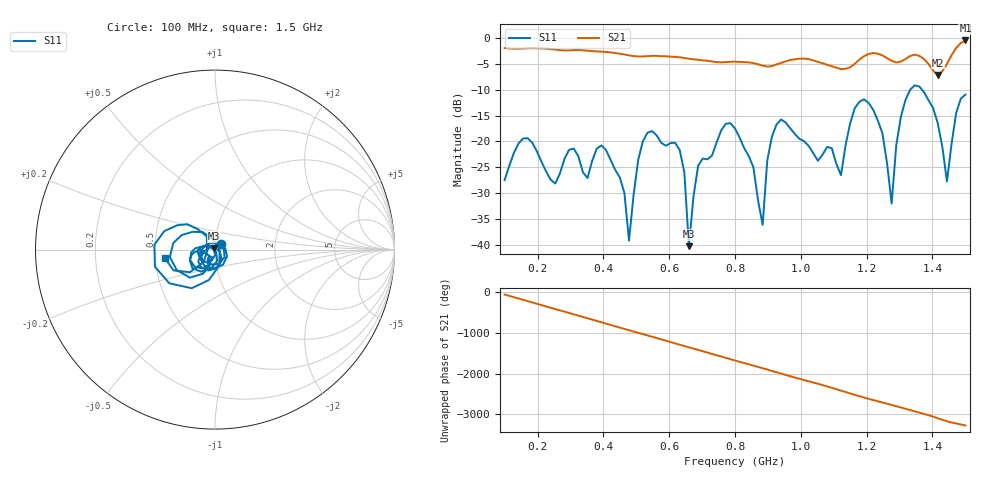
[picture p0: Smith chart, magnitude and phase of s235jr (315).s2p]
! NanoVNA-App
! Date: 2025-09-25 15:06:37
! Start: 100MHz Stop: 1,5GHz Points: 101
! S-Parameter data: F S11 S21 S12 S22
# Hz S RI R 50
!  Frequency  S11_Real  S11_Imag  S21_Real  S21_Imag  S12_Real  S12_Imag  S22_Real  S22_Imag
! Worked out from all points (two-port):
!   101 points, 100 MHz to 1.5 GHz, reference 50 ohm
!   highest |S21| = -0.49 dB at 1.5 GHz (marker M1); lowest = -7.2 dB at 1.416 GHz (marker M2)
!   |S21| within 3 dB of the highest: start of sweep to 490.2 MHz; 1.193 GHz to 1.251 GHz (57.92 MHz wide, 4.74 % of centre) (the widest 2 of 5)
!   lowest |S11| = -40.2 dB at 660 MHz (marker M3), VSWR 1.02, Z = 49.3 + j0.63 ohm
!   |S11| at or under -10 dB: start of sweep to 1.332 GHz; 1.368 GHz to end of sweep
!   S12 and S22 are empty: the file has one direction only
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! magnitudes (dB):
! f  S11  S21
! 100 MHz  -27.5  -2.0
! 156 MHz  -19.4  -2.1
! 338 MHz  -26.0  -2.4
! 408 MHz  -21.6  -2.7
! 478 MHz  -39.2  -3.4
! 520 MHz  -20.0  -3.6
! 576 MHz  -20.3  -3.5
! 632 MHz  -21.7  -3.7
! 660 MHz  -40.2  -4.0
! 688 MHz  -24.7  -4.2
! 800 MHz  -17.5  -4.6
! 884 MHz  -36.1  -5.4
! 926 MHz  -16.8  -5.1
! 1.038 GHz  -22.3  -4.4
! 1.122 GHz  -26.5  -6.0
! 1.192 GHz  -11.9  -3.5
! 1.248 GHz  -18.5  -3.4
! 1.276 GHz  -32.0  -4.4
! 1.332 GHz  -10.0  -3.5
! 1.416 GHz  -16.5  -7.2
! 1.444 GHz  -27.7  -5.0
! 1.5 GHz  -11.0  -0.5
